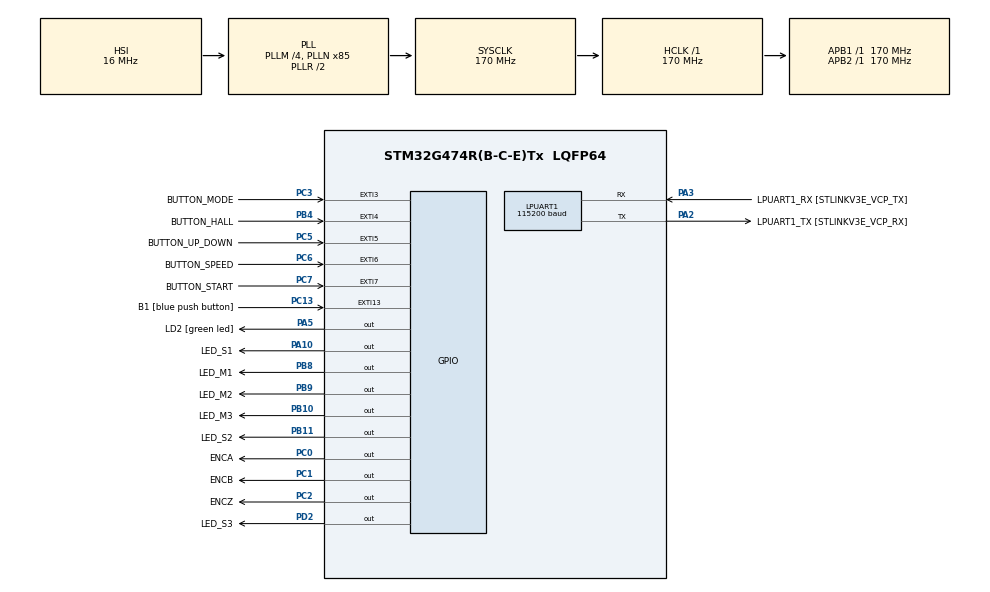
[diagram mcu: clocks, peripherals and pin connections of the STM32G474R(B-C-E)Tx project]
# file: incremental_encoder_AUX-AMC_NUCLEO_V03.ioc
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LPUART1.BaudRate=115200
LPUART1.WordLength=UART_WORDLENGTH_8B
Mcu.Family=STM32G4
Mcu.Name=STM32G474R(B-C-E)Tx
Mcu.Package=LQFP64
NVIC.EXTI15_10_IRQn=true\:0\:0\:false\:false\:true\:true\:true\:true
NVIC.EXTI3_IRQn=true\:0\:0\:false\:false\:true\:true\:true\:true
NVIC.EXTI4_IRQn=true\:0\:0\:false\:false\:true\:true\:true\:true
NVIC.EXTI9_5_IRQn=true\:0\:0\:false\:false\:true\:true\:true\:true
NVIC.PriorityGroup=NVIC_PRIORITYGROUP_4
NVIC.TIM1_UP_TIM16_IRQn=true\:0\:0\:false\:false\:true\:true\:true\:true
PA10.GPIO_Label=LED_S1
PA10.Signal=GPIO_Output
PA13.GPIO_Label=T_SWDIO
PA13.Mode=Serial_Wire
PA13.Signal=SYS_JTMS-SWDIO
PA14.GPIO_Label=T_SWCLK
PA14.Mode=Serial_Wire
PA14.Signal=SYS_JTCK-SWCLK
PA2.GPIO_Label=LPUART1_TX [STLINKV3E_VCP_RX]
PA2.Mode=Asynchronous
PA2.Signal=LPUART1_TX
PA3.GPIO_Label=LPUART1_RX [STLINKV3E_VCP_TX]
PA3.Mode=Asynchronous
PA3.Signal=LPUART1_RX
PA5.GPIO_Label=LD2 [green led]
PA5.Signal=GPIO_Output
PB10.GPIO_Label=LED_M3
PB10.Signal=GPIO_Output
PB11.GPIO_Label=LED_S2
PB11.Signal=GPIO_Output
PB3.GPIO_Label=T_SWO
PB3.Signal=SYS_JTDO-SWO
PB4.GPIO_Label=BUTTON_HALL
PB4.Signal=GPXTI4
PB8-BOOT0.GPIO_Label=LED_M1
PB8-BOOT0.Signal=GPIO_Output
PB9.GPIO_Label=LED_M2
PB9.Signal=GPIO_Output
PC0.GPIO_Label=ENCA
PC0.Signal=GPIO_Output
PC1.GPIO_Label=ENCB
PC1.Signal=GPIO_Output
PC13.GPIO_Label=B1 [blue push button]
PC13.Signal=GPXTI13
PC14-OSC32_IN.Mode=LSE-External-Oscillator
PC14-OSC32_IN.Signal=RCC_OSC32_IN
PC15-OSC32_OUT.Mode=LSE-External-Oscillator
PC15-OSC32_OUT.Signal=RCC_OSC32_OUT
PC2.GPIO_Label=ENCZ
PC2.Signal=GPIO_Output
PC3.GPIO_Label=BUTTON_MODE
PC3.Signal=GPXTI3
PC5.GPIO_Label=BUTTON_UP_DOWN
PC5.Signal=GPXTI5
PC6.GPIO_Label=BUTTON_SPEED
PC6.Signal=GPXTI6
PC7.GPIO_Label=BUTTON_START
PC7.Signal=GPXTI7
PD2.GPIO_Label=LED_S3
PD2.Signal=GPIO_Output
PF0-OSC_IN.Mode=HSE-External-Oscillator
PF0-OSC_IN.Signal=RCC_OSC_IN
PF1-OSC_OUT.Mode=HSE-External-Oscillator
PF1-OSC_OUT.Signal=RCC_OSC_OUT
ProjectManager.HeapSize=0x200
ProjectManager.StackSize=0x400
ProjectManager.TargetToolchain=MDK-ARM V5.27
RCC.ADC12Freq_Value=170000000
RCC.ADC345Freq_Value=170000000
RCC.AHBFreq_Value=170000000
RCC.APB1Freq_Value=170000000
RCC.APB1TimFreq_Value=170000000
RCC.APB2Freq_Value=170000000
RCC.APB2TimFreq_Value=170000000
RCC.CortexFreq_Value=170000000
RCC.EXTERNAL_CLOCK_VALUE=12288000
RCC.HCLKFreq_Value=170000000
RCC.HSE_VALUE=24000000
RCC.HSI48_VALUE=48000000
RCC.HSI_VALUE=16000000
RCC.PLLM=RCC_PLLM_DIV4
RCC.PLLN=85
RCC.RTCClockSelection=RCC_RTCCLKSOURCE_LSE
RCC.SYSCLKFreq_VALUE=170000000
RCC.SYSCLKSource=RCC_SYSCLKSOURCE_PLLCLK
RCC.USBFreq_Value=170000000
RCC.VCOOutputFreq_Value=340000000
TIM16.PeriodNoDither=65536 - 1
TIM16.Prescaler=170 - 1
VP_SYS_VS_DBSignals.Mode=DisableDeadBatterySignals
VP_TIM16_VS_ClockSourceINT.Mode=Enable_Timer
board=NUCLEO-G474RE

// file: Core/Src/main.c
/* USER CODE BEGIN Header */
/**
  ******************************************************************************
  * @file           : main.c
  * @brief          : Main program body
  ******************************************************************************
  * @attention
  *
  * Copyright (c) 2024 STMicroelectronics.
  * All rights reserved.
  *
  * This software is licensed under terms that can be found in the LICENSE file
  * in the root directory of this software component.
  * If no LICENSE file comes with this software, it is provided AS-IS.
  *
  ******************************************************************************
  */
/* USER CODE END Header */
#include "main.h"
#include "usart.h"
#include "tim.h"
#include "gpio.h"

/* USER CODE BEGIN Includes */
#include "stdbool.h"
#include "encoderWaveGenerator.h"
/* USER CODE END Includes */

/* USER CODE BEGIN PD */
#define TIM_TIME htim16
/* USER CODE END PD */

/* USER CODE BEGIN PV */

const uint32_t Twave_default = 7200/2;

/* USER CODE END PV */

void SystemClock_Config(void);
/* USER CODE BEGIN PFP */
void Wave_generator(void);
void Index_generator(void);
void Index_timing(void);
/* USER CODE END PFP */

int main(void)
{

  /* MCU Configuration--------------------------------------------------------*/

  /* Reset of all peripherals, Initializes the Flash interface and the Systick. */
  HAL_Init();

  /* Configure the system clock */
  SystemClock_Config();

  /* Initialize all configured peripherals */
  MX_GPIO_Init();
  MX_LPUART1_UART_Init();
  MX_TIM16_Init();
  /* USER CODE BEGIN 2 */
  HAL_TIM_Base_Start_IT(&TIM_TIME);
  /* USER CODE END 2 */

  /* Infinite loop */
  /* USER CODE BEGIN WHILE */

  //init(Twave_default);
  while (1)
  {
    /* USER CODE END WHILE */

    /* USER CODE BEGIN 3 */
        recipe();
		Wave_generator();
		Index_generator();

		if(counter >= 1300)
		{
			index_state = true;
			counter = 0;
			t1 = micros_asolari();
		}

  }
  /* USER CODE END 3 */
}

void SystemClock_Config(void)
{
  RCC_OscInitTypeDef RCC_OscInitStruct = {0};
  RCC_ClkInitTypeDef RCC_ClkInitStruct = {0};

  /** Configure the main internal regulator output voltage
  */
  HAL_PWREx_ControlVoltageScaling(PWR_REGULATOR_VOLTAGE_SCALE1_BOOST);

  /** Initializes the RCC Oscillators according to the specified parameters
  * in the RCC_OscInitTypeDef structure.
  */
  RCC_OscInitStruct.OscillatorType = RCC_OSCILLATORTYPE_HSI;
  RCC_OscInitStruct.HSIState = RCC_HSI_ON;
  RCC_OscInitStruct.HSICalibrationValue = RCC_HSICALIBRATION_DEFAULT;
  RCC_OscInitStruct.PLL.PLLState = RCC_PLL_ON;
  RCC_OscInitStruct.PLL.PLLSource = RCC_PLLSOURCE_HSI;
  RCC_OscInitStruct.PLL.PLLM = RCC_PLLM_DIV4;
  RCC_OscInitStruct.PLL.PLLN = 85;
  RCC_OscInitStruct.PLL.PLLP = RCC_PLLP_DIV2;
  RCC_OscInitStruct.PLL.PLLQ = RCC_PLLQ_DIV2;
  RCC_OscInitStruct.PLL.PLLR = RCC_PLLR_DIV2;
  if (HAL_RCC_OscConfig(&RCC_OscInitStruct) != HAL_OK)
  {
    Error_Handler();
  }

  /** Initializes the CPU, AHB and APB buses clocks
  */
  RCC_ClkInitStruct.ClockType = RCC_CLOCKTYPE_HCLK|RCC_CLOCKTYPE_SYSCLK
                              |RCC_CLOCKTYPE_PCLK1|RCC_CLOCKTYPE_PCLK2;
  RCC_ClkInitStruct.SYSCLKSource = RCC_SYSCLKSOURCE_PLLCLK;
  RCC_ClkInitStruct.AHBCLKDivider = RCC_SYSCLK_DIV1;
  RCC_ClkInitStruct.APB1CLKDivider = RCC_HCLK_DIV1;
  RCC_ClkInitStruct.APB2CLKDivider = RCC_HCLK_DIV1;

  if (HAL_RCC_ClockConfig(&RCC_ClkInitStruct, FLASH_LATENCY_4) != HAL_OK)
  {
    Error_Handler();
  }
}

/* USER CODE BEGIN 4 */

//here i use the interrupt callback when timer roll over
void HAL_TIM_PeriodElapsedCallback(TIM_HandleTypeDef *htim)
{

  /* NOTE : This function should not be modified, when the callback is needed,
            the HAL_TIM_PeriodElapsedCallback could be implemented in the user file
   */

	//check the callback and toggle the GPIO pin
	if (htim == &TIM_TIME)
	{
		//HAL_GPIO_TogglePin(ENCB_GPIO_Port, ENCB_Pin);
		time++;
    }
}

/* USER CODE END 4 */

void Error_Handler(void)
{
  __disable_irq();
  while (1)
  {
  }
}
